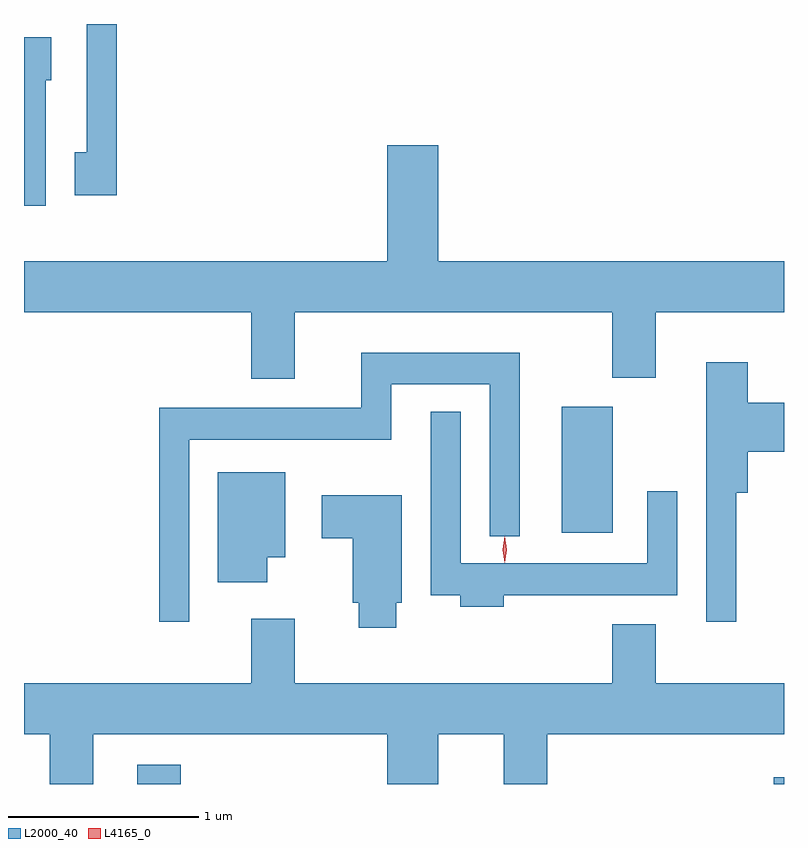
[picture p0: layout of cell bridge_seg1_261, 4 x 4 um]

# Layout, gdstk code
import gdstk
lib = gdstk.Library(unit=1e-6, precision=1e-09)
def R(c, l, rs):  # rectangles x0, y0, x1, y1
    for r in rs: c.add(gdstk.rectangle(r[:2], r[2:], *l))
def P(c, l, *ps):  # polygons
    for p in ps: c.add(gdstk.Polygon(p, *l))
L2000_40 = (2000, 40)
L4165_0 = (4165, 0)

bridge_seg1_261 = lib.new_cell('bridge_seg1_261')
R(bridge_seg1_261, L2000_40, [(953.021,881.553,953.249,881.654), (956.371,881.553,956.425,881.589), (955.256,882.876,955.524,883.539)])
P(bridge_seg1_261, L2000_40, [(952.914,885.553),(952.756,885.553),(952.756,884.879),(952.691,884.879),(952.691,884.651),(952.914,884.651)],
  [(952.539,885.256),(952.569,885.256),(952.569,885.484),(952.425,885.484),(952.425,884.596),(952.539,884.596)],
  [(953.849,884.036),(955.521,884.036),(955.521,883.691),(955.749,883.691),(955.749,884.036),(956.425,884.036),(956.425,884.304),(954.604,884.304),(954.604,884.914),(954.336,884.914),(954.336,884.304),(952.425,884.304),(952.425,884.036),(953.621,884.036),(953.621,883.686),(953.849,883.686)],
  [(953.294,883.366),(954.359,883.366),(954.359,883.656),(954.876,883.656),(954.876,882.858),(955.034,882.858),(955.034,883.824),(954.201,883.824),(954.201,883.534),(953.136,883.534),(953.136,882.408),(953.294,882.408)],
  [(956.174,883.086),(956.234,883.086),(956.234,883.301),(956.425,883.301),(956.425,883.559),(956.234,883.559),(956.234,883.774),(956.016,883.774),(956.016,882.408),(956.174,882.408)],
  [(954.949,882.546),(955.864,882.546),(955.864,883.093),(955.706,883.093),(955.706,882.714),(954.724,882.714),(954.724,883.513),(954.566,883.513),(954.566,882.546),(954.721,882.546),(954.721,882.486),(954.949,882.486)],
  [(953.704,882.746),(953.799,882.746),(953.799,883.194),(953.446,883.194),(953.446,882.616),(953.704,882.616)],
  [(954.384,882.506),(954.414,882.506),(954.414,883.074),(953.991,883.074),(953.991,882.846),(954.156,882.846),(954.156,882.506),(954.186,882.506),(954.186,882.376),(954.384,882.376)],
  [(952.789,881.816),(954.336,881.816),(954.336,881.553),(954.604,881.553),(954.604,881.816),(954.951,881.816),(954.951,881.553),(955.179,881.553),(955.179,881.816),(956.425,881.816),(956.425,882.084),(955.749,882.084),(955.749,882.394),(955.521,882.394),(955.521,882.084),(953.849,882.084),(953.849,882.424),(953.621,882.424),(953.621,882.084),(952.425,882.084),(952.425,881.816),(952.561,881.816),(952.561,881.553),(952.789,881.553)])
P(bridge_seg1_261, L4165_0, [(954.955,882.717),(954.946,882.787),(954.955,882.856),(954.956,882.856),(954.956,882.856),(954.966,882.787),(954.956,882.717),(954.956,882.717)],
  [(954.955,882.719),(954.954,882.72),(954.945,882.786),(954.954,882.852),(954.955,882.853),(954.955,882.852),(954.965,882.786),(954.955,882.72)])

lib.write_gds('bridge_seg1_261.gds')
